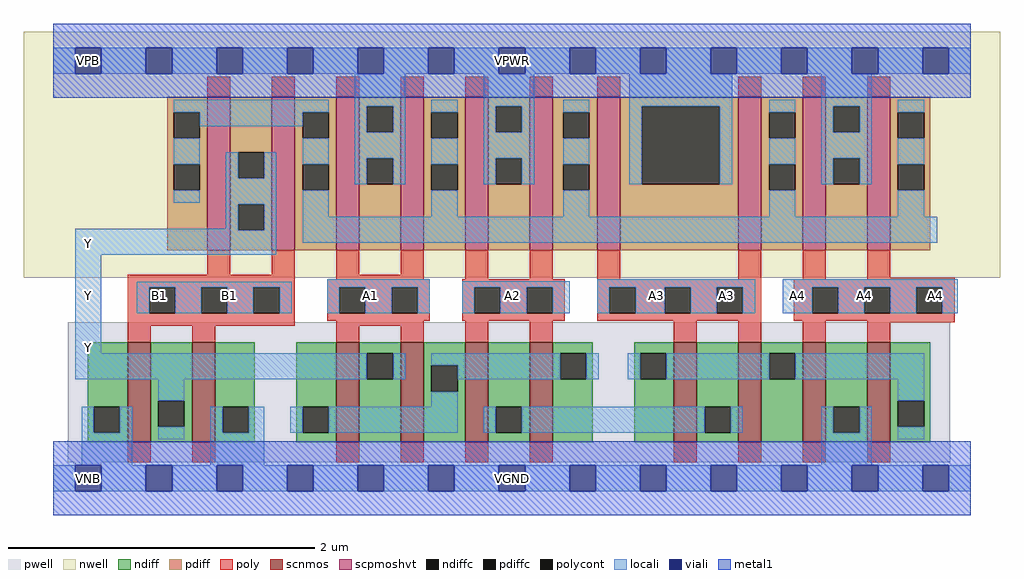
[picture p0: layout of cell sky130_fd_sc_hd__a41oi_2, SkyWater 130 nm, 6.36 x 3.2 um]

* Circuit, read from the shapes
.subckt sky130_fd_sc_hd__a41oi_2 A1 A2 A3 A4 B1 VGND VNB VPB VPWR Y
XM1 Y B1 VGND VNB sky130_fd_pr__nfet_01v8 w=0.65 l=0.15 m=2
XM2 Y A1 n1 VNB sky130_fd_pr__nfet_01v8 w=0.65 l=0.15 m=2
XM3 n2 A2 n1 VNB sky130_fd_pr__nfet_01v8 w=0.65 l=0.15 m=2
XM4 n2 A3 n3 VNB sky130_fd_pr__nfet_01v8 w=0.65 l=0.15 m=2
XM5 VGND A4 n3 VNB sky130_fd_pr__nfet_01v8 w=0.65 l=0.15 m=2
XM6 Y B1 n4 VPB sky130_fd_pr__pfet_01v8_hvt w=1 l=0.15 m=2
XM7 VPWR A1 n4 VPB sky130_fd_pr__pfet_01v8_hvt w=1 l=0.15 m=2
XM8 VPWR A2 n4 VPB sky130_fd_pr__pfet_01v8_hvt w=1 l=0.15 m=2
XM9 VPWR A3 n4 VPB sky130_fd_pr__pfet_01v8_hvt w=1 l=0.15 m=2
XM10 VPWR A4 n4 VPB sky130_fd_pr__pfet_01v8_hvt w=1 l=0.15 m=2
.ends

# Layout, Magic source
magic
tech sky130A
magscale 1 2
<< nwell >>
rect -38 261 1234 582
<< pwell >>
rect 19 21 1169 203
rect 29 -17 63 21
<< scnmos >>
rect 97 47 127 177
rect 181 47 211 177
rect 369 47 399 177
rect 453 47 483 177
rect 537 47 567 177
rect 621 47 651 177
rect 809 47 839 177
rect 893 47 923 177
rect 977 47 1007 177
rect 1061 47 1091 177
<< scpmoshvt >>
rect 201 297 231 497
rect 285 297 315 497
rect 369 297 399 497
rect 453 297 483 497
rect 537 297 567 497
rect 621 297 651 497
rect 709 297 739 497
rect 893 297 923 497
rect 977 297 1007 497
rect 1061 297 1091 497
<< ndiff >>
rect 45 93 97 177
rect 45 59 53 93
rect 87 59 97 93
rect 45 47 97 59
rect 127 101 181 177
rect 127 67 137 101
rect 171 67 181 101
rect 127 47 181 67
rect 211 93 263 177
rect 211 59 221 93
rect 255 59 263 93
rect 211 47 263 59
rect 317 93 369 177
rect 317 59 325 93
rect 359 59 369 93
rect 317 47 369 59
rect 399 163 453 177
rect 399 129 409 163
rect 443 129 453 163
rect 399 47 453 129
rect 483 147 537 177
rect 483 113 493 147
rect 527 113 537 147
rect 483 47 537 113
rect 567 93 621 177
rect 567 59 577 93
rect 611 59 621 93
rect 567 47 621 59
rect 651 163 703 177
rect 651 129 661 163
rect 695 129 703 163
rect 651 47 703 129
rect 757 163 809 177
rect 757 129 765 163
rect 799 129 809 163
rect 757 47 809 129
rect 839 93 893 177
rect 839 59 849 93
rect 883 59 893 93
rect 839 47 893 59
rect 923 163 977 177
rect 923 129 933 163
rect 967 129 977 163
rect 923 47 977 129
rect 1007 93 1061 177
rect 1007 59 1017 93
rect 1051 59 1061 93
rect 1007 47 1061 59
rect 1091 101 1143 177
rect 1091 67 1101 101
rect 1135 67 1143 101
rect 1091 47 1143 67
<< pdiff >>
rect 149 477 201 497
rect 149 443 157 477
rect 191 443 201 477
rect 149 409 201 443
rect 149 375 157 409
rect 191 375 201 409
rect 149 297 201 375
rect 231 425 285 497
rect 231 391 241 425
rect 275 391 285 425
rect 231 357 285 391
rect 231 323 241 357
rect 275 323 285 357
rect 231 297 285 323
rect 315 477 369 497
rect 315 443 325 477
rect 359 443 369 477
rect 315 409 369 443
rect 315 375 325 409
rect 359 375 369 409
rect 315 297 369 375
rect 399 485 453 497
rect 399 451 409 485
rect 443 451 453 485
rect 399 417 453 451
rect 399 383 409 417
rect 443 383 453 417
rect 399 297 453 383
rect 483 477 537 497
rect 483 443 493 477
rect 527 443 537 477
rect 483 409 537 443
rect 483 375 493 409
rect 527 375 537 409
rect 483 297 537 375
rect 567 485 621 497
rect 567 451 577 485
rect 611 451 621 485
rect 567 417 621 451
rect 567 383 577 417
rect 611 383 621 417
rect 567 297 621 383
rect 651 477 709 497
rect 651 443 665 477
rect 699 443 709 477
rect 651 409 709 443
rect 651 375 665 409
rect 699 375 709 409
rect 651 297 709 375
rect 739 485 893 497
rect 739 383 767 485
rect 869 383 893 485
rect 739 297 893 383
rect 923 477 977 497
rect 923 443 933 477
rect 967 443 977 477
rect 923 409 977 443
rect 923 375 933 409
rect 967 375 977 409
rect 923 297 977 375
rect 1007 485 1061 497
rect 1007 451 1017 485
rect 1051 451 1061 485
rect 1007 417 1061 451
rect 1007 383 1017 417
rect 1051 383 1061 417
rect 1007 297 1061 383
rect 1091 477 1143 497
rect 1091 443 1101 477
rect 1135 443 1143 477
rect 1091 409 1143 443
rect 1091 375 1101 409
rect 1135 375 1143 409
rect 1091 297 1143 375
<< ndiffc >>
rect 53 59 87 93
rect 137 67 171 101
rect 221 59 255 93
rect 325 59 359 93
rect 409 129 443 163
rect 493 113 527 147
rect 577 59 611 93
rect 661 129 695 163
rect 765 129 799 163
rect 849 59 883 93
rect 933 129 967 163
rect 1017 59 1051 93
rect 1101 67 1135 101
<< pdiffc >>
rect 157 443 191 477
rect 157 375 191 409
rect 241 391 275 425
rect 241 323 275 357
rect 325 443 359 477
rect 325 375 359 409
rect 409 451 443 485
rect 409 383 443 417
rect 493 443 527 477
rect 493 375 527 409
rect 577 451 611 485
rect 577 383 611 417
rect 665 443 699 477
rect 665 375 699 409
rect 767 383 869 485
rect 933 443 967 477
rect 933 375 967 409
rect 1017 451 1051 485
rect 1017 383 1051 417
rect 1101 443 1135 477
rect 1101 375 1135 409
<< poly >>
rect 201 497 231 523
rect 285 497 315 523
rect 369 497 399 523
rect 453 497 483 523
rect 537 497 567 523
rect 621 497 651 523
rect 709 497 739 523
rect 893 497 923 523
rect 977 497 1007 523
rect 1061 497 1091 523
rect 201 265 231 297
rect 285 265 315 297
rect 97 249 315 265
rect 369 265 399 297
rect 453 265 483 297
rect 369 259 483 265
rect 537 259 567 297
rect 621 259 651 297
rect 709 259 739 297
rect 893 259 923 297
rect 977 259 1007 297
rect 1061 261 1091 297
rect 1061 259 1175 261
rect 97 215 125 249
rect 159 215 193 249
rect 227 215 261 249
rect 295 215 315 249
rect 97 199 315 215
rect 357 249 491 259
rect 357 215 373 249
rect 407 215 441 249
rect 475 215 491 249
rect 357 205 491 215
rect 533 249 667 259
rect 533 215 549 249
rect 583 215 617 249
rect 651 215 667 249
rect 533 205 667 215
rect 709 249 923 259
rect 709 215 725 249
rect 759 215 797 249
rect 831 215 865 249
rect 899 215 923 249
rect 709 205 923 215
rect 965 249 1175 259
rect 965 215 989 249
rect 1023 215 1057 249
rect 1091 215 1125 249
rect 1159 215 1175 249
rect 965 205 1175 215
rect 369 199 483 205
rect 97 177 127 199
rect 181 177 211 199
rect 369 177 399 199
rect 453 177 483 199
rect 537 177 567 205
rect 621 177 651 205
rect 809 177 839 205
rect 893 177 923 205
rect 977 177 1007 205
rect 1061 203 1175 205
rect 1061 177 1091 203
rect 97 21 127 47
rect 181 21 211 47
rect 369 21 399 47
rect 453 21 483 47
rect 537 21 567 47
rect 621 21 651 47
rect 809 21 839 47
rect 893 21 923 47
rect 977 21 1007 47
rect 1061 21 1091 47
<< polycont >>
rect 125 215 159 249
rect 193 215 227 249
rect 261 215 295 249
rect 373 215 407 249
rect 441 215 475 249
rect 549 215 583 249
rect 617 215 651 249
rect 725 215 759 249
rect 797 215 831 249
rect 865 215 899 249
rect 989 215 1023 249
rect 1057 215 1091 249
rect 1125 215 1159 249
<< locali >>
rect 0 527 29 561
rect 63 527 121 561
rect 155 527 213 561
rect 247 527 305 561
rect 339 527 397 561
rect 431 527 489 561
rect 523 527 581 561
rect 615 527 673 561
rect 707 527 765 561
rect 799 527 857 561
rect 891 527 949 561
rect 983 527 1041 561
rect 1075 527 1133 561
rect 1167 527 1196 561
rect 157 477 359 493
rect 191 459 325 477
rect 157 409 191 443
rect 157 359 191 375
rect 225 391 241 425
rect 275 391 291 425
rect 225 357 291 391
rect 225 325 241 357
rect 29 323 241 325
rect 275 323 291 357
rect 29 291 291 323
rect 325 409 359 443
rect 393 485 459 527
rect 393 451 409 485
rect 443 451 459 485
rect 393 417 459 451
rect 393 383 409 417
rect 443 383 459 417
rect 493 477 527 493
rect 493 409 527 443
rect 325 341 359 375
rect 561 485 627 527
rect 561 451 577 485
rect 611 451 627 485
rect 561 417 627 451
rect 561 383 577 417
rect 611 383 627 417
rect 665 477 699 493
rect 665 409 699 443
rect 493 341 527 375
rect 751 485 885 527
rect 751 383 767 485
rect 869 383 885 485
rect 933 477 967 493
rect 933 409 967 443
rect 665 341 699 375
rect 1001 485 1067 527
rect 1001 451 1017 485
rect 1051 451 1067 485
rect 1001 417 1067 451
rect 1001 383 1017 417
rect 1051 383 1067 417
rect 1101 477 1135 493
rect 1101 409 1135 443
rect 933 341 967 375
rect 1101 341 1135 375
rect 325 307 1152 341
rect 29 163 63 291
rect 109 249 311 256
rect 109 215 125 249
rect 159 215 193 249
rect 227 215 261 249
rect 295 215 311 249
rect 357 249 491 259
rect 357 215 373 249
rect 407 215 441 249
rect 475 215 491 249
rect 533 249 673 257
rect 533 215 549 249
rect 583 215 617 249
rect 651 215 673 249
rect 709 249 915 259
rect 709 215 725 249
rect 759 215 797 249
rect 831 215 865 249
rect 899 215 915 249
rect 951 249 1179 259
rect 951 215 989 249
rect 1023 215 1057 249
rect 1091 215 1125 249
rect 1159 215 1179 249
rect 29 129 409 163
rect 443 129 459 163
rect 493 147 661 163
rect 137 101 171 129
rect 37 59 53 93
rect 87 59 103 93
rect 37 17 103 59
rect 527 129 661 147
rect 695 129 711 163
rect 749 129 765 163
rect 799 129 933 163
rect 967 129 1135 163
rect 493 93 527 113
rect 1101 101 1135 129
rect 137 51 171 67
rect 205 59 221 93
rect 255 59 275 93
rect 309 59 325 93
rect 359 59 527 93
rect 561 59 577 93
rect 611 59 849 93
rect 883 59 899 93
rect 1001 59 1017 93
rect 1051 59 1067 93
rect 205 17 275 59
rect 1001 17 1067 59
rect 1101 51 1135 67
rect 0 -17 29 17
rect 63 -17 121 17
rect 155 -17 213 17
rect 247 -17 305 17
rect 339 -17 397 17
rect 431 -17 489 17
rect 523 -17 581 17
rect 615 -17 673 17
rect 707 -17 765 17
rect 799 -17 857 17
rect 891 -17 949 17
rect 983 -17 1041 17
rect 1075 -17 1133 17
rect 1167 -17 1196 17
<< viali >>
rect 29 527 63 561
rect 121 527 155 561
rect 213 527 247 561
rect 305 527 339 561
rect 397 527 431 561
rect 489 527 523 561
rect 581 527 615 561
rect 673 527 707 561
rect 765 527 799 561
rect 857 527 891 561
rect 949 527 983 561
rect 1041 527 1075 561
rect 1133 527 1167 561
rect 29 -17 63 17
rect 121 -17 155 17
rect 213 -17 247 17
rect 305 -17 339 17
rect 397 -17 431 17
rect 489 -17 523 17
rect 581 -17 615 17
rect 673 -17 707 17
rect 765 -17 799 17
rect 857 -17 891 17
rect 949 -17 983 17
rect 1041 -17 1075 17
rect 1133 -17 1167 17
<< metal1 >>
rect 0 561 1196 592
rect 0 527 29 561
rect 63 527 121 561
rect 155 527 213 561
rect 247 527 305 561
rect 339 527 397 561
rect 431 527 489 561
rect 523 527 581 561
rect 615 527 673 561
rect 707 527 765 561
rect 799 527 857 561
rect 891 527 949 561
rect 983 527 1041 561
rect 1075 527 1133 561
rect 1167 527 1196 561
rect 0 496 1196 527
rect 0 17 1196 48
rect 0 -17 29 17
rect 63 -17 121 17
rect 155 -17 213 17
rect 247 -17 305 17
rect 339 -17 397 17
rect 431 -17 489 17
rect 523 -17 581 17
rect 615 -17 673 17
rect 707 -17 765 17
rect 799 -17 857 17
rect 891 -17 949 17
rect 983 -17 1041 17
rect 1075 -17 1133 17
rect 1167 -17 1196 17
rect 0 -48 1196 -17
<< labels >>
flabel locali s 1133 221 1167 255 0 FreeSans 200 0 0 0 A4
port 4 nsew signal input
flabel locali s 953 221 987 255 0 FreeSans 200 0 0 0 A4
port 4 nsew signal input
flabel locali s 769 221 803 255 0 FreeSans 200 0 0 0 A3
port 3 nsew signal input
flabel locali s 1041 221 1075 255 0 FreeSans 200 0 0 0 A4
port 4 nsew signal input
flabel locali s 861 221 895 255 0 FreeSans 200 0 0 0 A3
port 3 nsew signal input
flabel locali s 581 221 615 255 0 FreeSans 200 0 0 0 A2
port 2 nsew signal input
flabel locali s 121 221 155 255 0 FreeSans 200 0 0 0 B1
port 5 nsew signal input
flabel locali s 397 221 431 255 0 FreeSans 200 0 0 0 A1
port 1 nsew signal input
flabel locali s 29 221 63 255 0 FreeSans 200 0 0 0 Y
port 10 nsew signal output
flabel locali s 213 221 247 255 0 FreeSans 200 0 0 0 B1
port 5 nsew signal input
flabel locali s 29 289 63 323 0 FreeSans 200 0 0 0 Y
port 10 nsew signal output
flabel locali s 29 153 63 187 0 FreeSans 200 0 0 0 Y
port 10 nsew signal output
flabel pwell s 29 -17 63 17 0 FreeSans 200 0 0 0 VNB
port 7 nsew ground bidirectional
flabel nwell s 29 527 63 561 0 FreeSans 200 0 0 0 VPB
port 8 nsew power bidirectional
flabel metal1 s 29 527 63 561 0 FreeSans 200 0 0 0 VPWR
port 9 nsew power bidirectional abutment
flabel metal1 s 29 -17 63 17 0 FreeSans 200 0 0 0 VGND
port 6 nsew ground bidirectional abutment
rlabel comment s 0 0 0 0 4 a41oi_2
rlabel metal1 s 0 -48 1196 48 1 VGND
port 6 nsew ground bidirectional abutment
rlabel metal1 s 0 496 1196 592 1 VPWR
port 9 nsew power bidirectional abutment
<< properties >>
string FIXED_BBOX 0 0 1196 544
string GDS_END 3546860
string GDS_FILE $PDKPATH/libs.ref/sky130_fd_sc_hd/gds/sky130_fd_sc_hd.gds
string GDS_START 3536790
string LEFclass CORE
string LEFsite unithd
string LEFsymmetry X Y R90
string path 0.000 13.600 29.900 13.600 
<< end >>
